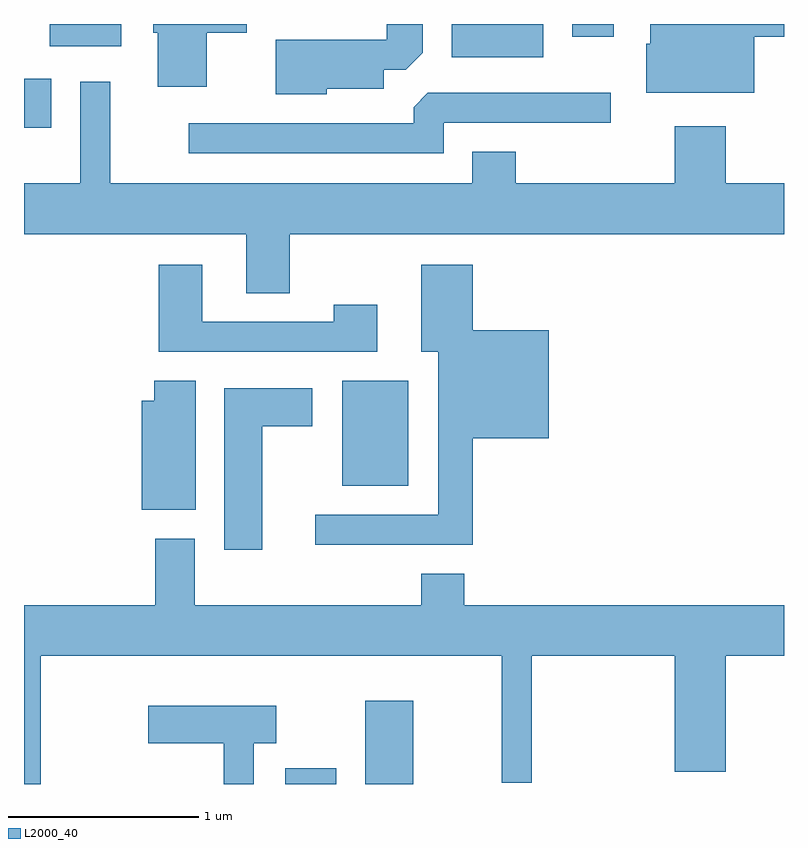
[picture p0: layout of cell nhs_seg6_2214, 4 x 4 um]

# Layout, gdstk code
import gdstk
lib = gdstk.Library(unit=1e-6, precision=1e-09)
def R(c, l, rs):  # rectangles x0, y0, x1, y1
    for r in rs: c.add(gdstk.rectangle(r[:2], r[2:], *l))
def P(c, l, *ps):  # polygons
    for p in ps: c.add(gdstk.Polygon(p, *l))
L2000_40 = (2000, 40)

nhs_seg6_2214 = lib.new_cell('nhs_seg6_2214')
R(nhs_seg6_2214, L2000_40, [(252.986,1638.162,253.254,1638.244), (253.406,1638.162,253.659,1638.599), (253.286,1639.731,253.634,1640.284), (251.611,1641.616,251.754,1641.874), (253.861,1641.986,254.344,1642.162), (251.746,1642.046,252.124,1642.162), (254.496,1642.096,254.714,1642.162)])
P(nhs_seg6_2214, L2000_40, [(252.574,1642.116),(252.784,1642.116),(252.784,1642.162),(252.291,1642.162),(252.291,1642.116),(252.316,1642.116),(252.316,1641.831),(252.574,1641.831)],
  [(253.204,1641.821),(253.504,1641.821),(253.504,1641.921),(253.619,1641.921),(253.709,1642.012),(253.709,1642.162),(253.521,1642.162),(253.521,1642.079),(252.936,1642.079),(252.936,1641.791),(253.204,1641.791)],
  [(255.454,1642.096),(255.611,1642.096),(255.611,1642.162),(254.906,1642.162),(254.906,1642.059),(254.886,1642.059),(254.886,1641.801),(255.454,1641.801)],
  [(253.009,1641.056),(255.611,1641.056),(255.611,1641.324),(255.304,1641.324),(255.304,1641.624),(255.036,1641.624),(255.036,1641.324),(254.199,1641.324),(254.199,1641.489),(253.971,1641.489),(253.971,1641.324),(252.064,1641.324),(252.064,1641.858),(251.906,1641.858),(251.906,1641.324),(251.611,1641.324),(251.611,1641.056),(252.781,1641.056),(252.781,1640.746),(253.009,1640.746)],
  [(253.819,1641.641),(254.698,1641.641),(254.698,1641.799),(253.737,1641.799),(253.661,1641.724),(253.661,1641.639),(252.478,1641.639),(252.478,1641.481),(253.819,1641.481)],
  [(253.469,1640.684),(253.241,1640.684),(253.241,1640.594),(252.549,1640.594),(252.549,1640.894),(252.321,1640.894),(252.321,1640.436),(253.469,1640.436)],
  [(253.974,1639.981),(254.374,1639.981),(254.374,1640.549),(253.974,1640.549),(253.974,1640.894),(253.701,1640.894),(253.701,1640.436),(253.791,1640.436),(253.791,1639.579),(253.143,1639.579),(253.143,1639.421),(253.974,1639.421)],
  [(252.514,1640.284),(252.296,1640.284),(252.296,1640.179),(252.231,1640.179),(252.231,1639.606),(252.514,1639.606)],
  [(252.864,1640.046),(253.129,1640.046),(253.129,1640.244),(252.666,1640.244),(252.666,1639.396),(252.864,1639.396)],
  [(251.699,1638.836),(254.126,1638.836),(254.126,1638.168),(254.284,1638.168),(254.284,1638.836),(255.036,1638.836),(255.036,1638.226),(255.304,1638.226),(255.304,1638.836),(255.611,1638.836),(255.611,1639.104),(253.929,1639.104),(253.929,1639.269),(253.701,1639.269),(253.701,1639.104),(252.509,1639.104),(252.509,1639.454),(252.301,1639.454),(252.301,1639.104),(251.611,1639.104),(251.611,1638.162),(251.699,1638.162)],
  [(252.819,1638.376),(252.939,1638.376),(252.939,1638.574),(252.266,1638.574),(252.266,1638.376),(252.661,1638.376),(252.661,1638.162),(252.819,1638.162)])

lib.write_gds('nhs_seg6_2214.gds')
